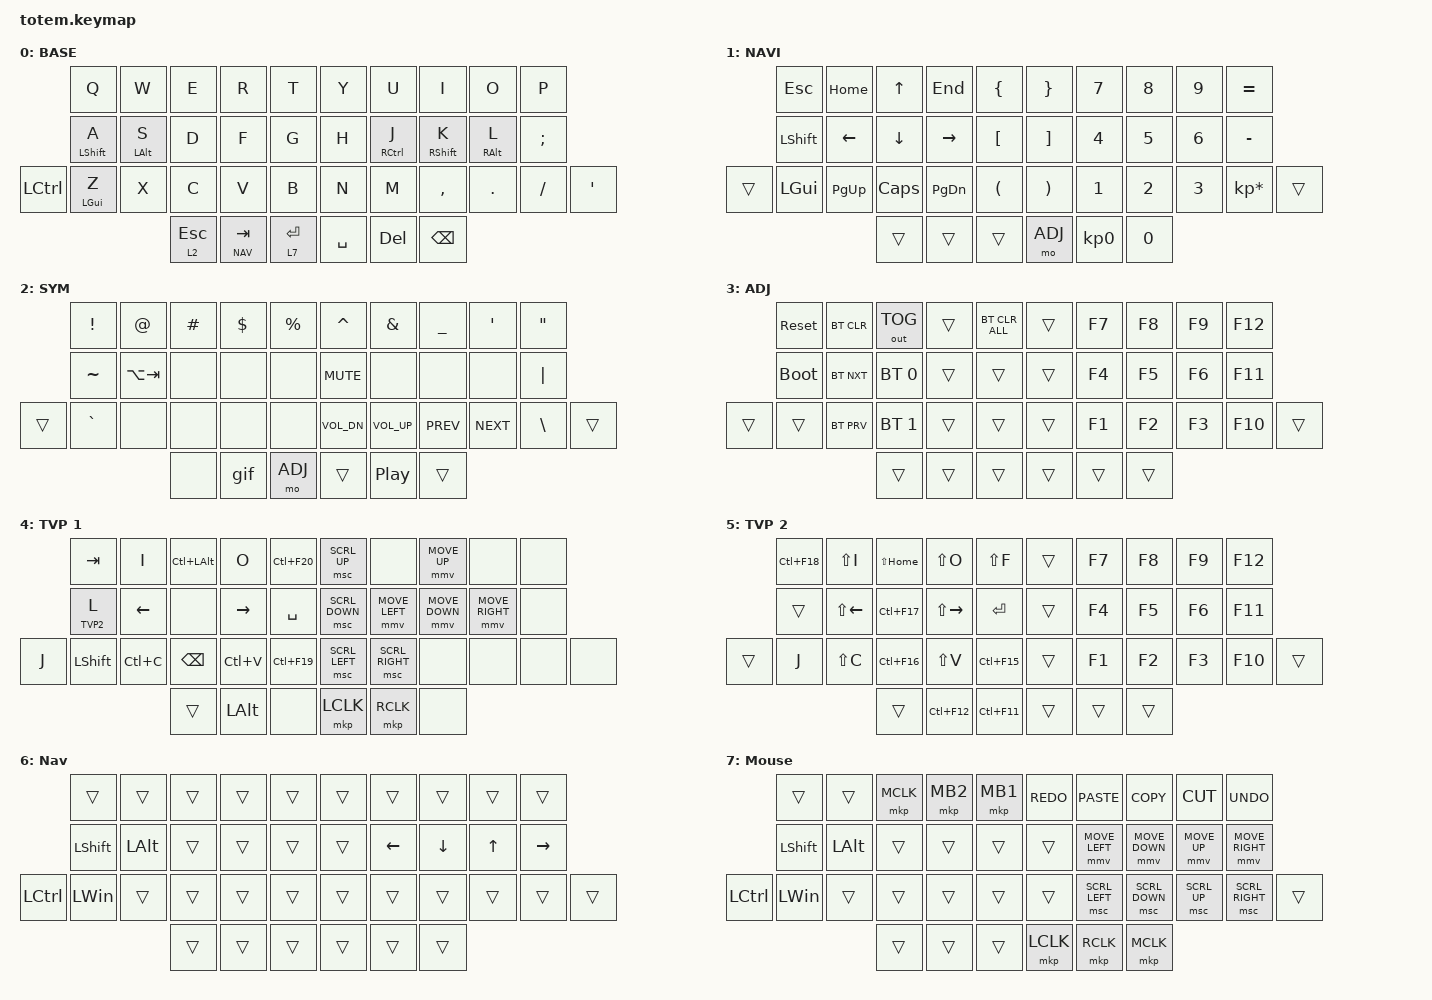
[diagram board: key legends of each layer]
//
//                                                        ▀▀▀▀▀     ▀▀▀▀▀          ▀▀█▀▀
//                                                        ▄▀▀▀▄  ▄  ▄▀▀▀▄  ▄  ▄▀▀▀▄  █  ▄▀▀▀▄
//                                                        █   █  █  █   █  █  █   █  █  █   █
//                                                         ▀▀▀   █   ▀▀▀   █   ▀▀▀   ▀   ▀▀▀
//                                                               █      ▄▄▄█▄▄▄    █   █  
//                                                               ▀      █  █  █     █▄█
//                                                             ▀▀▀▀▀    █  █  █      ▀
//                                                                      ▀  ▀  ▀
//
// ▄▄▄▄▄▄▄▄▄▄▄▄▄▄▄▄▄▄▄▄▄▄▄▄▄▄▄▄▄▄▄▄▄▄▄▄▄▄▄▄▄▄▄▄▄▄▄▄▄▄▄▄▄▄▄▄▄▄▄▄▄▄▄▄▄▄▄▄▄▄▄▄▄▄▄▄▄▄▄▄▄▄▄▄▄▄▄▄▄▄▄▄▄▄▄▄▄▄▄▄▄▄▄▄▄▄▄▄▄▄▄▄▄▄▄▄▄▄▄▄▄▄▄▄▄▄▄▄▄▄▄▄▄▄▄▄▄▄▄▄▄▄▄▄▄▄▄▄▄

#include <behaviors.dtsi>
#include <dt-bindings/zmk/bt.h>
#include <dt-bindings/zmk/keys.h>
#include <dt-bindings/zmk/outputs.h>
#include <dt-bindings/zmk/pointing.h>

#define BASE 0
#define NAV  1
#define SYM  2
#define ADJ  3
#define TVP1 4
#define TVP2 5

&mt {
    quick-tap-ms = <100>;
    global-quick-tap;
    flavor = "tap-preferred";
    tapping-term-ms = <170>;
};

/ {
    combos {
        compatible = "zmk,combos";

        combo_esc {
            timeout-ms = <50>;
            key-positions = <0 1>;
            bindings = <&kp ESC>;
        };

        combo_tvp {
            timeout-ms = <100>;
            key-positions = <11 12 13>;
            bindings = <&tog TVP1>;
        };

        backspace {
            bindings = <&kp BACKSPACE>;
            key-positions = <3 4>;
        };
    };

    macros {
        gif: gif {
            label = "giphy";
            compatible = "zmk,behavior-macro";
            #binding-cells = <0>;
            bindings =
                <&macro_press>,
                <&kp LSHFT>,
                <&macro_tap>,
                <&kp N2>,
                <&macro_release>,
                <&kp LSHFT>,
                <&macro_tap>,
                <&kp G &kp I &kp F>;
        };
    };

    keymap {
        compatible = "zmk,keymap";

        // ▄▄▄▄▄▄▄▄▄▄▄▄▄▄▄▄▄▄▄▄▄▄▄▄▄▄▄▄▄▄▄▄▄▄▄▄▄▄▄▄▄▄▄▄▄▄▄▄▄▄▄▄▄▄▄▄▄▄▄▄▄▄▄▄▄▄▄▄▄▄▄▄▄▄▄▄▄▄▄▄▄▄▄▄▄▄▄▄▄▄▄▄▄▄▄▄▄▄▄▄▄▄▄▄▄▄▄▄▄▄▄▄▄▄▄▄▄▄▄▄▄▄▄▄▄▄▄▄▄▄▄▄▄▄▄▄▄▄▄▄▄▄▄▄▄▄▄▄▄

        base_layer {
            // ┏━━━━━━━━━━━━━━━━━━━━━━━━━━━━━━━━━━━━━━━┓

            label = "BASE";

            // ┗━━━━━━━━━━━━━━━━━━━━━━━━━━━━━━━━━━━━━━━┛
            //             ┏━━━━━━━━━━━┳━━━━━━━━━━━┳━━━━━━━━━━━┳━━━━━━━━━━━┳━━━━━━━━━━━┓   ┏━━━━━━━━━━━┳━━━━━━━━━━━┳━━━━━━━━━━━┳━━━━━━━━━━━┳━━━━━━━━━━━┓
            //             ┃     Q     ┃     W     ┃     F     ┃     P     ┃     G     ┃   ┃     J     ┃     L     ┃     U     ┃     Y     ┃     ;     ┃
            //             ┣━━━━━━━━━━━╋━━━━━━━━━━━╋━━━━━━━━━━━╋━━━━━━━━━━━╋━━━━━━━━━━━┫   ┣━━━━━━━━━━━╋━━━━━━━━━━━╋━━━━━━━━━━━╋━━━━━━━━━━━╋━━━━━━━━━━━┫
            //             ┃     A     ┃     R     ┃     S     ┃     T     ┃     D     ┃   ┃     H     ┃     N     ┃     E     ┃     I     ┃     O     ┃
            // ┏━━━━━━━━━━━╋━━━━━━━━━━━╋━━━━━━━━━━━╋━━━━━━━━━━━╋━━━━━━━━━━━╋━━━━━━━━━━━┫   ┣━━━━━━━━━━━╋━━━━━━━━━━━╋━━━━━━━━━━━╋━━━━━━━━━━━╋━━━━━━━━━━━╋━━━━━━━━━━━┓
            // ┃     Q     ┃     Z     ┃     X     ┃     C     ┃     V     ┃     B     ┃   ┃     K     ┃     M     ┃     ,     ┃     .     ┃     /     ┃     \     ┃
            // ┗━━━━━━━━━━━┻━━━━━━━━━━━┻━━━━━━━━━━━╋━━━━━━━━━━━╋━━━━━━━━━━━╋━━━━━━━━━━━┫   ┣━━━━━━━━━━━╋━━━━━━━━━━━╋━━━━━━━━━━━╋━━━━━━━━━━━┻━━━━━━━━━━━┻━━━━━━━━━━━┛
            //                                     ┃    DEL    ┃    TAB    ┃    SPC    ┃   ┃   ENTER   ┃           ┃   BSPC    ┃
            //                                     ┗━━━━━━━━━━━┻━━━━━━━━━━━┻━━━━━━━━━━━┛   ┗━━━━━━━━━━━┻━━━━━━━━━━━┻━━━━━━━━━━━┛

            bindings = <
           &kp Q             &kp W       &kp E         &kp R        &kp T          &kp Y      &kp U        &kp I              &kp O       &kp P
           &mt LEFT_SHIFT A  &mt LALT S  &kp D         &kp F        &kp G          &kp H      &mt RCTRL J  &mt RIGHT_SHIFT K  &mt RALT L  &kp SEMICOLON
&kp LCTRL  &mt LEFT_GUI Z    &kp X       &kp C         &kp V        &kp B          &kp N      &kp M        &kp COMMA          &kp DOT     &kp FSLH       &kp SQT
                                         &lt 2 ESCAPE  &lt NAV TAB  &lt 7 ENTER    &kp SPACE  &kp DELETE   &kp BSPC
            >;
        };

        // ▄▄▄▄▄▄▄▄▄▄▄▄▄▄▄▄▄▄▄▄▄▄▄▄▄▄▄▄▄▄▄▄▄▄▄▄▄▄▄▄▄▄▄▄▄▄▄▄▄▄▄▄▄▄▄▄▄▄▄▄▄▄▄▄▄▄▄▄▄▄▄▄▄▄▄▄▄▄▄▄▄▄▄▄▄▄▄▄▄▄▄▄▄▄▄▄▄▄▄▄▄▄▄▄▄▄▄▄▄▄▄▄▄▄▄▄▄▄▄▄▄▄▄▄▄▄▄▄▄▄▄▄▄▄▄▄▄▄▄▄▄▄▄▄▄▄▄▄▄

        nav_layer {
            // ┏━━━━━━━━━━━━━━━━━━━━━━━━━━━━━━━━━━━━━━━┓

            label = "NAVI";

            // ┗━━━━━━━━━━━━━━━━━━━━━━━━━━━━━━━━━━━━━━━┛
            //             ┏━━━━━━━━━━━┳━━━━━━━━━━━┳━━━━━━━━━━━┳━━━━━━━━━━━┳━━━━━━━━━━━┓   ┏━━━━━━━━━━━┳━━━━━━━━━━━┳━━━━━━━━━━━┳━━━━━━━━━━━┳━━━━━━━━━━━┓
            //             ┃           ┃           ┃     UP    ┃           ┃     {     ┃   ┃     }     ┃     7     ┃     8     ┃     9     ┃     +     ┃
            //             ┣━━━━━━━━━━━╋━━━━━━━━━━━╋━━━━━━━━━━━╋━━━━━━━━━━━╋━━━━━━━━━━━┫   ┣━━━━━━━━━━━╋━━━━━━━━━━━╋━━━━━━━━━━━╋━━━━━━━━━━━╋━━━━━━━━━━━┫
            //             ┃   SHIFT   ┃   LEFT    ┃    DOWN   ┃   RIGHT   ┃     [     ┃   ┃     ]     ┃     4     ┃     5     ┃     6     ┃     -     ┃
            // ┏━━━━━━━━━━━╋━━━━━━━━━━━╋━━━━━━━━━━━╋━━━━━━━━━━━╋━━━━━━━━━━━╋━━━━━━━━━━━┫   ┣━━━━━━━━━━━╋━━━━━━━━━━━╋━━━━━━━━━━━╋━━━━━━━━━━━╋━━━━━━━━━━━╋━━━━━━━━━━━┓
            // ┃           ┃           ┃   P UP    ┃  C LOCK   ┃  P DOWN   ┃     (     ┃   ┃     )     ┃     1     ┃     2     ┃     3     ┃     *     ┃           ┃
            // ┗━━━━━━━━━━━┻━━━━━━━━━━━┻━━━━━━━━━━━╋━━━━━━━━━━━╋━━━━━━━━━━━╋━━━━━━━━━━━┫   ┣━━━━━━━━━━━╋━━━━━━━━━━━╋━━━━━━━━━━━╋━━━━━━━━━━━┻━━━━━━━━━━━┻━━━━━━━━━━━┛
            //                                     ┃           ┃    TAB    ┃    SPC    ┃   ┃    DEL    ┃     0     ┃           ┃
            //                                     ┗━━━━━━━━━━━┻━━━━━━━━━━━┻━━━━━━━━━━━┛   ┗━━━━━━━━━━━┻━━━━━━━━━━━┻━━━━━━━━━━━┛

            bindings = <
        &kp ESC       &kp HOME   &kp UP    &kp END    &kp LBRC    &kp RBRC  &kp N7        &kp N8        &kp N9        &kp EQUAL
        &kp LSHFT     &kp LEFT   &kp DOWN  &kp RIGHT  &kp LBKT    &kp RBKT  &kp NUMBER_4  &kp N5        &kp NUMBER_6  &kp MINUS
&trans  &kp LEFT_GUI  &kp PG_UP  &kp CAPS  &kp PG_DN  &kp LPAR    &kp RPAR  &kp NUMBER_1  &kp NUMBER_2  &kp NUMBER_3  &kp KP_MULTIPLY  &trans
                                 &trans    &trans     &trans      &mo ADJ   &kp KP_N0     &kp N0
            >;
        };

        // ▄▄▄▄▄▄▄▄▄▄▄▄▄▄▄▄▄▄▄▄▄▄▄▄▄▄▄▄▄▄▄▄▄▄▄▄▄▄▄▄▄▄▄▄▄▄▄▄▄▄▄▄▄▄▄▄▄▄▄▄▄▄▄▄▄▄▄▄▄▄▄▄▄▄▄▄▄▄▄▄▄▄▄▄▄▄▄▄▄▄▄▄▄▄▄▄▄▄▄▄▄▄▄▄▄▄▄▄▄▄▄▄▄▄▄▄▄▄▄▄▄▄▄▄▄▄▄▄▄▄▄▄▄▄▄▄▄▄▄▄▄▄▄▄▄▄▄▄▄

        sim_layer {
            // ┏━━━━━━━━━━━━━━━━━━━━━━━━━━━━━━━━━━━━━━━┓

            label = "SYM";

            // ┗━━━━━━━━━━━━━━━━━━━━━━━━━━━━━━━━━━━━━━━┛
            //             ┏━━━━━━━━━━━┳━━━━━━━━━━━┳━━━━━━━━━━━┳━━━━━━━━━━━┳━━━━━━━━━━━┓   ┏━━━━━━━━━━━┳━━━━━━━━━━━┳━━━━━━━━━━━┳━━━━━━━━━━━┳━━━━━━━━━━━┓
            //             ┃     !     ┃     @     ┃     #     ┃     $     ┃     %     ┃   ┃     ˆ     ┃     &     ┃     Ü     ┃     '     ┃     "     ┃
            //             ┣━━━━━━━━━━━╋━━━━━━━━━━━╋━━━━━━━━━━━╋━━━━━━━━━━━╋━━━━━━━━━━━┫   ┣━━━━━━━━━━━╋━━━━━━━━━━━╋━━━━━━━━━━━╋━━━━━━━━━━━╋━━━━━━━━━━━┫
            //             ┃     Ä     ┃           ┃    SZ     ┃           ┃           ┃   ┃   MUTE    ┃   YEN     ┃   EURO    ┃  POUND    ┃     Ö     ┃
            // ┏━━━━━━━━━━━╋━━━━━━━━━━━╋━━━━━━━━━━━╋━━━━━━━━━━━╋━━━━━━━━━━━╋━━━━━━━━━━━┫   ┣━━━━━━━━━━━╋━━━━━━━━━━━╋━━━━━━━━━━━╋━━━━━━━━━━━╋━━━━━━━━━━━╋━━━━━━━━━━━┓
            // ┃           ┃  EMAIL1   ┃  EMAIL2   ┃           ┃           ┃           ┃   ┃   VOL-    ┃   VOL+    ┃   LAST    ┃   NEXT    ┃     \     ┃           ┃
            // ┗━━━━━━━━━━━┻━━━━━━━━━━━┻━━━━━━━━━━━╋━━━━━━━━━━━╋━━━━━━━━━━━╋━━━━━━━━━━━┫   ┣━━━━━━━━━━━╋━━━━━━━━━━━╋━━━━━━━━━━━╋━━━━━━━━━━━┻━━━━━━━━━━━┻━━━━━━━━━━━┛
            //                                     ┃           ┃    GIF    ┃    ADJ    ┃   ┃           ┃           ┃           ┃
            //                                     ┗━━━━━━━━━━━┻━━━━━━━━━━━┻━━━━━━━━━━━┛   ┗━━━━━━━━━━━┻━━━━━━━━━━━┻━━━━━━━━━━━┛

            bindings = <
        &kp EXCL   &kp AT       &kp HASH  &kp DLLR  &kp PRCNT    &kp CARET     &kp AMPS      &kp UNDERSCORE  &kp SQT     &kp DQT
        &kp TILDE  &kp LA(TAB)  &none     &none     &none        &kp C_MUTE    &none         &none           &none       &kp PIPE
&trans  &kp GRAVE  &none        &none     &none     &none        &kp C_VOL_DN  &kp C_VOL_UP  &kp C_PREV      &kp C_NEXT  &kp BSLH  &trans
                                &none     &gif      &mo ADJ      &trans        &kp C_PP      &trans
            >;
        };

        // ▄▄▄▄▄▄▄▄▄▄▄▄▄▄▄▄▄▄▄▄▄▄▄▄▄▄▄▄▄▄▄▄▄▄▄▄▄▄▄▄▄▄▄▄▄▄▄▄▄▄▄▄▄▄▄▄▄▄▄▄▄▄▄▄▄▄▄▄▄▄▄▄▄▄▄▄▄▄▄▄▄▄▄▄▄▄▄▄▄▄▄▄▄▄▄▄▄▄▄▄▄▄▄▄▄▄▄▄▄▄▄▄▄▄▄▄▄▄▄▄▄▄▄▄▄▄▄▄▄▄▄▄▄▄▄▄▄▄▄▄▄▄▄▄▄▄▄▄▄

        adjust_layer {
            // ┏━━━━━━━━━━━━━━━━━━━━━━━━━━━━━━━━━━━━━━━┓

            label = "ADJ";

            // ┗━━━━━━━━━━━━━━━━━━━━━━━━━━━━━━━━━━━━━━━┛
            //             ┏━━━━━━━━━━━┳━━━━━━━━━━━┳━━━━━━━━━━━┳━━━━━━━━━━━┳━━━━━━━━━━━┓   ┏━━━━━━━━━━━┳━━━━━━━━━━━┳━━━━━━━━━━━┳━━━━━━━━━━━┳━━━━━━━━━━━┓
            //             ┃   RESET   ┃ BT CLEAR  ┃  OUT TOG  ┃           ┃           ┃   ┃           ┃    F7     ┃    F8     ┃    F9     ┃    F12    ┃
            //             ┣━━━━━━━━━━━╋━━━━━━━━━━━╋━━━━━━━━━━━╋━━━━━━━━━━━╋━━━━━━━━━━━┫   ┣━━━━━━━━━━━╋━━━━━━━━━━━╋━━━━━━━━━━━╋━━━━━━━━━━━╋━━━━━━━━━━━┫
            //             ┃ BOOTLOAD  ┃ BT NEXT   ┃           ┃           ┃           ┃   ┃           ┃    F4     ┃    F5     ┃    F6     ┃    F11    ┃
            // ┏━━━━━━━━━━━╋━━━━━━━━━━━╋━━━━━━━━━━━╋━━━━━━━━━━━╋━━━━━━━━━━━╋━━━━━━━━━━━┫   ┣━━━━━━━━━━━╋━━━━━━━━━━━╋━━━━━━━━━━━╋━━━━━━━━━━━╋━━━━━━━━━━━╋━━━━━━━━━━━┓
            // ┃           ┃           ┃ BT PREV   ┃           ┃           ┃           ┃   ┃           ┃    F1     ┃    F2     ┃    F3     ┃    F10    ┃           ┃
            // ┗━━━━━━━━━━━┻━━━━━━━━━━━┻━━━━━━━━━━━╋━━━━━━━━━━━╋━━━━━━━━━━━╋━━━━━━━━━━━┫   ┣━━━━━━━━━━━╋━━━━━━━━━━━╋━━━━━━━━━━━╋━━━━━━━━━━━┻━━━━━━━━━━━┻━━━━━━━━━━━┛
            //                                     ┃           ┃           ┃           ┃   ┃           ┃           ┃           ┃
            //                                     ┗━━━━━━━━━━━┻━━━━━━━━━━━┻━━━━━━━━━━━┛   ┗━━━━━━━━━━━┻━━━━━━━━━━━┻━━━━━━━━━━━┛

            bindings = <
        &sys_reset   &bt BT_CLR  &out OUT_TOG  &trans  &bt BT_CLR_ALL    &trans  &kp F7  &kp F8  &kp F9  &kp F12
        &bootloader  &bt BT_NXT  &bt BT_SEL 0  &trans  &trans            &trans  &kp F4  &kp F5  &kp F6  &kp F11
&trans  &trans       &bt BT_PRV  &bt BT_SEL 1  &trans  &trans            &trans  &kp F1  &kp F2  &kp F3  &kp F10  &trans
                                 &trans        &trans  &trans            &trans  &trans  &trans
            >;
        };

        // ▄▄▄▄▄▄▄▄▄▄▄▄▄▄▄▄▄▄▄▄▄▄▄▄▄▄▄▄▄▄▄▄▄▄▄▄▄▄▄▄▄▄▄▄▄▄▄▄▄▄▄▄▄▄▄▄▄▄▄▄▄▄▄▄▄▄▄▄▄▄▄▄▄▄▄▄▄▄▄▄▄▄▄▄▄▄▄▄▄▄▄▄▄▄▄▄▄▄▄▄▄▄▄▄▄▄▄▄▄▄▄▄▄▄▄▄▄▄▄▄▄▄▄▄▄▄▄▄▄▄▄▄▄▄▄▄▄▄▄▄▄▄▄▄▄▄▄▄▄

        tvp1_layer {
            // ┏━━━━━━━━━━━━━━━━━━━━━━━━━━━━━━━━━━━━━━━┓

            label = "TVP 1";

            // ┗━━━━━━━━━━━━━━━━━━━━━━━━━━━━━━━━━━━━━━━┛
            //             ┏━━━━━━━━━━━┳━━━━━━━━━━━┳━━━━━━━━━━━┳━━━━━━━━━━━┳━━━━━━━━━━━┓   ┏━━━━━━━━━━━┳━━━━━━━━━━━┳━━━━━━━━━━━┳━━━━━━━━━━━┳━━━━━━━━━━━┓
            //             ┃ NEXT FILE ┃ MARK IN   ┃ ROTATE    ┃ MARK OUT  ┃ SHOW SNAP ┃   ┃           ┃           ┃           ┃           ┃           ┃
            //             ┣━━━━━━━━━━━╋━━━━━━━━━━━╋━━━━━━━━━━━╋━━━━━━━━━━━╋━━━━━━━━━━━┫   ┣━━━━━━━━━━━╋━━━━━━━━━━━╋━━━━━━━━━━━╋━━━━━━━━━━━╋━━━━━━━━━━━┫
            //             ┃ TVP II    ┃ LEFT      ┃ PAN       ┃ RIGHT     ┃ PLAY/FLIP ┃   ┃           ┃           ┃           ┃           ┃           ┃
            // ┏━━━━━━━━━━━╋━━━━━━━━━━━╋━━━━━━━━━━━╋━━━━━━━━━━━╋━━━━━━━━━━━╋━━━━━━━━━━━┫   ┣━━━━━━━━━━━╋━━━━━━━━━━━╋━━━━━━━━━━━╋━━━━━━━━━━━╋━━━━━━━━━━━╋━━━━━━━━━━━┓
            // ┃ FULLSCR   ┃ SHIFT     ┃ COPY      ┃ DELETE    ┃ PASTE     ┃ IMG MARK  ┃   ┃           ┃           ┃           ┃           ┃           ┃           ┃
            // ┗━━━━━━━━━━━┻━━━━━━━━━━━┻━━━━━━━━━━━╋━━━━━━━━━━━╋━━━━━━━━━━━╋━━━━━━━━━━━┫   ┣━━━━━━━━━━━╋━━━━━━━━━━━╋━━━━━━━━━━━╋━━━━━━━━━━━┻━━━━━━━━━━━┻━━━━━━━━━━━┛
            //                                     ┃           ┃ UNDO/SAVE ┃  SEL/MOV  ┃   ┃           ┃           ┃           ┃
            //                                     ┗━━━━━━━━━━━┻━━━━━━━━━━━┻━━━━━━━━━━━┛   ┗━━━━━━━━━━━┻━━━━━━━━━━━┻━━━━━━━━━━━┛

            bindings = <
       &kp TAB     &kp I      &kp LC(LALT)  &kp O         &kp LC(F20)    &msc SCRL_UP    &none            &mmv MOVE_UP    &none            &none
       &lt TVP2 L  &kp LEFT   &none         &kp RIGHT     &kp SPACE      &msc SCRL_DOWN  &mmv MOVE_LEFT   &mmv MOVE_DOWN  &mmv MOVE_RIGHT  &none
&kp J  &kp LSHFT   &kp LC(C)  &kp BSPC      &kp LC(V)     &kp LC(F19)    &msc SCRL_LEFT  &msc SCRL_RIGHT  &none           &none            &none  &none
                              &trans        &kp LEFT_ALT  &none          &mkp LCLK       &mkp RCLK        &none
            >;
        };

        // ▄▄▄▄▄▄▄▄▄▄▄▄▄▄▄▄▄▄▄▄▄▄▄▄▄▄▄▄▄▄▄▄▄▄▄▄▄▄▄▄▄▄▄▄▄▄▄▄▄▄▄▄▄▄▄▄▄▄▄▄▄▄▄▄▄▄▄▄▄▄▄▄▄▄▄▄▄▄▄▄▄▄▄▄▄▄▄▄▄▄▄▄▄▄▄▄▄▄▄▄▄▄▄▄▄▄▄▄▄▄▄▄▄▄▄▄▄▄▄▄▄▄▄▄▄▄▄▄▄▄▄▄▄▄▄▄▄▄▄▄▄▄▄▄▄▄▄▄▄

        tvp2_layer {
            // ┏━━━━━━━━━━━━━━━━━━━━━━━━━━━━━━━━━━━━━━━┓

            label = "TVP 2";

            // ┗━━━━━━━━━━━━━━━━━━━━━━━━━━━━━━━━━━━━━━━┛
            //             ┏━━━━━━━━━━━┳━━━━━━━━━━━┳━━━━━━━━━━━┳━━━━━━━━━━━┳━━━━━━━━━━━┓   ┏━━━━━━━━━━━┳━━━━━━━━━━━┳━━━━━━━━━━━┳━━━━━━━━━━━┳━━━━━━━━━━━┓
            //             ┃ SOLO      ┃ TOGGLE IN ┃ RESET ROT ┃ TOGGLE OUT┃ TAKE SNAP ┃   ┃           ┃           ┃           ┃           ┃           ┃
            //             ┣━━━━━━━━━━━╋━━━━━━━━━━━╋━━━━━━━━━━━╋━━━━━━━━━━━╋━━━━━━━━━━━┫   ┣━━━━━━━━━━━╋━━━━━━━━━━━╋━━━━━━━━━━━╋━━━━━━━━━━━╋━━━━━━━━━━━┫
            //             ┃ ---       ┃ LAST KEY  ┃ NEW KEY   ┃ NEXT KEY  ┃ ENTER     ┃   ┃           ┃           ┃           ┃           ┃           ┃
            // ┏━━━━━━━━━━━╋━━━━━━━━━━━╋━━━━━━━━━━━╋━━━━━━━━━━━╋━━━━━━━━━━━╋━━━━━━━━━━━┫   ┣━━━━━━━━━━━╋━━━━━━━━━━━╋━━━━━━━━━━━╋━━━━━━━━━━━╋━━━━━━━━━━━╋━━━━━━━━━━━┓
            // ┃           ┃ FULLSCR   ┃ CPY2BRUSH ┃ DEL HEAD  ┃ PSTinPLACE┃ BOOK MARK ┃   ┃           ┃           ┃           ┃           ┃           ┃           ┃
            // ┗━━━━━━━━━━━┻━━━━━━━━━━━┻━━━━━━━━━━━╋━━━━━━━━━━━╋━━━━━━━━━━━╋━━━━━━━━━━━┫   ┣━━━━━━━━━━━╋━━━━━━━━━━━╋━━━━━━━━━━━╋━━━━━━━━━━━┻━━━━━━━━━━━┻━━━━━━━━━━━┛
            //                                     ┃           ┃ REDO/SAV1 ┃TRANS/WARP ┃   ┃           ┃           ┃           ┃
            //                                     ┗━━━━━━━━━━━┻━━━━━━━━━━━┻━━━━━━━━━━━┛   ┗━━━━━━━━━━━┻━━━━━━━━━━━┻━━━━━━━━━━━┛

            bindings = <
        &kp LC(F18)  &kp LS(I)     &kp LS(HOME)  &kp LS(O)      &kp LS(F)      &trans  &kp F7  &kp F8  &kp F9  &kp F12
        &trans       &kp LS(LEFT)  &kp LC(F17)   &kp LS(RIGHT)  &kp RET        &trans  &kp F4  &kp F5  &kp F6  &kp F11
&trans  &kp J        &kp LS(C)     &kp LC(F16)   &kp LS(V)      &kp LC(F15)    &trans  &kp F1  &kp F2  &kp F3  &kp F10  &trans
                                   &trans        &kp LC(F12)    &kp LC(F11)    &trans  &trans  &trans
            >;
        };

        Nav {
            bindings = <
           &trans          &trans        &trans  &trans  &trans    &trans  &trans          &trans    &trans        &trans
           &kp LEFT_SHIFT  &kp LEFT_ALT  &trans  &trans  &trans    &trans  &kp LEFT_ARROW  &kp DOWN  &kp UP_ARROW  &kp RIGHT
&kp LCTRL  &kp LEFT_WIN    &trans        &trans  &trans  &trans    &trans  &trans          &trans    &trans        &trans     &trans
                                         &trans  &trans  &trans    &trans  &trans          &trans
            >;
        };

        Mouse {
            bindings = <
           &trans          &trans    &mkp MCLK  &mkp MB2  &mkp MB1    &kp K_REDO  &kp K_PASTE     &kp K_COPY      &kp K_CUT     &kp K_UNDO
           &kp LEFT_SHIFT  &kp LALT  &trans     &trans    &trans      &trans      &mmv MOVE_LEFT  &mmv MOVE_DOWN  &mmv MOVE_UP  &mmv MOVE_RIGHT
&kp LCTRL  &kp LEFT_WIN    &trans    &trans     &trans    &trans      &trans      &msc SCRL_LEFT  &msc SCRL_DOWN  &msc SCRL_UP  &msc SCRL_RIGHT  &trans
                                     &trans     &trans    &trans      &mkp LCLK   &mkp RCLK       &mkp MCLK
            >;
        };
    };
};
